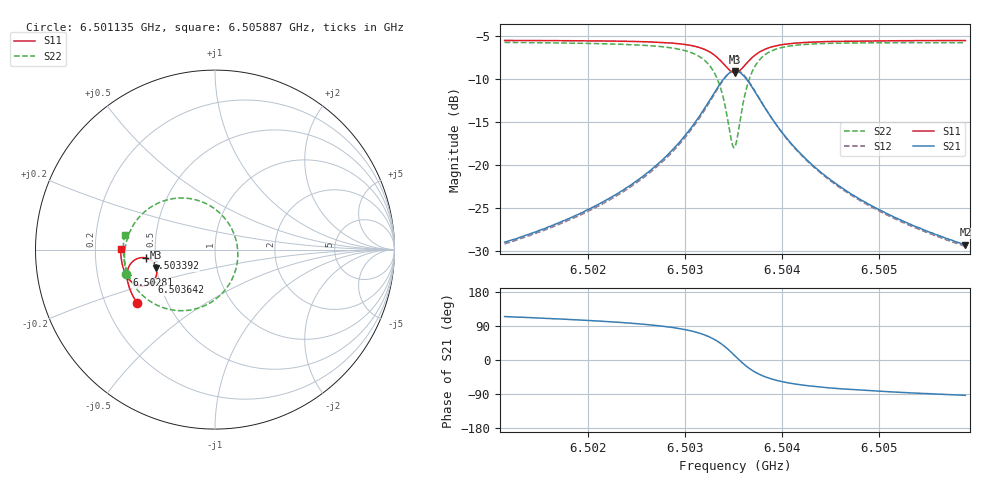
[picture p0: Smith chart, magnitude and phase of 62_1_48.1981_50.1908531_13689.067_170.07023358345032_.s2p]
#  HZ  S  RI  R  50.00
! Rohde & Schwarz Vector Network Analyzer
! Rohde-Schwarz,ZNB20-2Port,1311601062101988,3.16
! Created: UTC 3/20/2024, 11:38:48 AM
! freq[Hz]  re:S11  im:S11  re:S21  im:S21  re:S12  im:S12  re:S22  im:S22
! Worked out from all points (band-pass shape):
!   401 points, 6.501135 GHz to 6.505887 GHz, reference 50 ohm
!   highest |S21| = -9.10 dB at 6.503511 GHz (marker M1); lowest = -29.3 dB at 6.505887 GHz (marker M2)
!   |S21| within 3 dB of the highest: 6.503273 GHz to 6.503748 GHz (475.7 kHz wide, 0.00731 % of centre)
!   lowest |S11| = -9.3 dB at 6.503511 GHz (marker M3), VSWR 2.04, Z = 24.9 - j5.7 ohm
!   |S11| at or under -10 dB: nowhere
!   |S22| runs from -18.0 to -5.8 dB; largest |S21 - S12| = 0.012
!   S11 on the Smith chart (normalised r, x): 6.501135 GHz: 0.34, -0.28; 6.50281 GHz: 0.33, -0.13; 6.503392 GHz: 0.44, -0.05; 6.503642 GHz: 0.46, -0.20; 6.505887 GHz: 0.31, +0.00
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6.5011351e9  -0.4345 -0.2972  -0.0148 0.0324  -0.013 0.0322  -0.4946 -0.1363
6.5019311e9  -0.4676 -0.2367  -0.014 0.0509  -0.0114 0.0503  -0.5045 -0.0481
6.5023707e9  -0.4824 -0.1964  -0.0104 0.0715  -0.00741 0.0701  -0.4992 0.0179
6.5027271e9  -0.4899 -0.155  -0.000536 0.1025  0.003 0.0999  -0.4771 0.0942
6.5028102e9  -0.4902 -0.1433  0.00448 0.1132  0.00821 0.1102  -0.4659 0.1174
6.5030122e9  -0.4852 -0.1091  0.028 0.149  0.0316 0.1442  -0.4166 0.1871
6.5031547e9  -0.4703 -0.0791  0.067 0.1835  0.0696 0.1774  -0.3409 0.2469
6.5032973e9  -0.4308 -0.0493  0.1519 0.2127  0.1524 0.2062  -0.186 0.2876
6.5033923e9  -0.3825 -0.0473  0.2464 0.1945  0.2465 0.1899  -0.022 0.241
6.5034755e9  -0.3383 -0.0779  0.3269 0.1166  0.3295 0.1124  0.1062 0.0866
6.5035111e9  -0.3273 -0.1011  0.3445 0.0659  0.3485 0.0605  0.1268 -0.00871
6.5035349e9  -0.3242 -0.118  0.3478 0.03  0.3521 0.0231  0.1234 -0.0748
6.5035705e9  -0.3266 -0.143  0.3398 -0.0219  0.3434 -0.031  0.094 -0.1667
6.5036418e9  -0.3498 -0.1814  0.2908 -0.1002  0.2907 -0.1122  -0.0215 -0.2934
6.5037369e9  -0.3919 -0.2016  0.2096 -0.1444  0.2045 -0.1548  -0.187 -0.3404
6.5038081e9  -0.4188 -0.2015  0.1605 -0.1494  0.1535 -0.1575  -0.2789 -0.3268
6.5038913e9  -0.4426 -0.1943  0.1187 -0.1429  0.1113 -0.1487  -0.3521 -0.2941
6.5040576e9  -0.4723 -0.1732  0.0694 -0.1212  0.0627 -0.1238  -0.4322 -0.2247
6.5043071e9  -0.4951 -0.1419  0.0355 -0.0934  0.0305 -0.094  -0.4809 -0.145
6.5046635e9  -0.5109 -0.1033  0.0156 -0.0686  0.0122 -0.0683  -0.5041 -0.0685
6.5051031e9  -0.5205 -0.0617  0.00553 -0.051  0.00302 -0.0503  -0.5107 -0.00259
6.5058872e9  -0.5259 0.0055  -0.00195 -0.0343  -0.00333 -0.0336  -0.5039 0.0838
